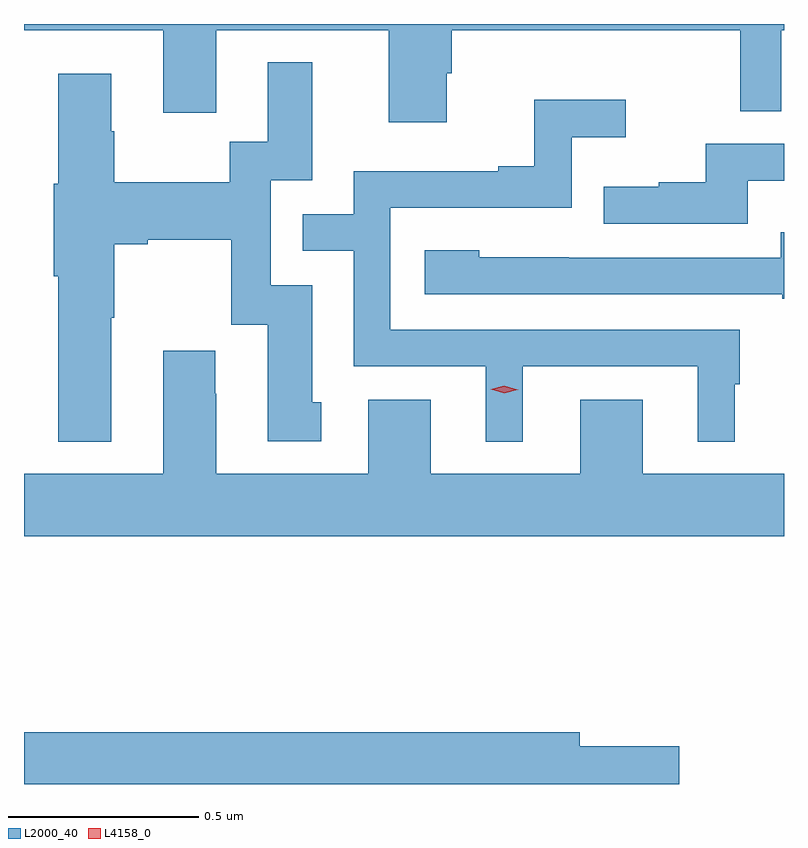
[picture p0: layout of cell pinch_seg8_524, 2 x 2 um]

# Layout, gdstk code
import gdstk
lib = gdstk.Library(unit=1e-6, precision=1e-09)
def P(c, l, *ps):  # polygons
    for p in ps: c.add(gdstk.Polygon(p, *l))
L2000_40 = (2000, 40)
L4158_0 = (4158, 0)

pinch_seg8_524 = lib.new_cell('pinch_seg8_524')
P(pinch_seg8_524, L2000_40, [(222.619,1109.727),(222.632,1109.727),(222.632,1109.84),(223.392,1109.84),(223.392,1109.626),(223.5,1109.626),(223.5,1109.84),(223.507,1109.84),(223.507,1109.856),(221.507,1109.856),(221.507,1109.84),(221.873,1109.84),(221.873,1109.622),(222.013,1109.622),(222.013,1109.84),(222.467,1109.84),(222.467,1109.598),(222.619,1109.598)],
  [(221.737,1109.083),(221.745,1109.083),(221.745,1109.276),(221.833,1109.276),(221.833,1109.288),(222.053,1109.288),(222.053,1109.064),(222.149,1109.064),(222.149,1108.758),(222.289,1108.758),(222.289,1108.86),(222.265,1108.86),(222.265,1109.169),(222.156,1109.169),(222.156,1109.445),(222.265,1109.445),(222.265,1109.755),(222.149,1109.755),(222.149,1109.546),(222.048,1109.546),(222.048,1109.44),(221.745,1109.44),(221.745,1109.574),(221.737,1109.574),(221.737,1109.725),(221.597,1109.725),(221.597,1109.436),(221.585,1109.436),(221.585,1109.192),(221.597,1109.192),(221.597,1108.757),(221.737,1108.757)],
  [(222.82,1108.956),(223.28,1108.956),(223.28,1108.757),(223.378,1108.757),(223.378,1108.908),(223.39,1108.908),(223.39,1109.052),(222.471,1109.052),(222.471,1109.373),(222.948,1109.373),(222.948,1109.558),(223.09,1109.558),(223.09,1109.657),(222.85,1109.657),(222.85,1109.482),(222.755,1109.482),(222.755,1109.469),(222.375,1109.469),(222.375,1109.355),(222.241,1109.355),(222.241,1109.259),(222.375,1109.259),(222.375,1108.956),(222.722,1108.956),(222.722,1108.757),(222.82,1108.757)],
  [(223.411,1109.444),(223.507,1109.444),(223.507,1109.541),(223.301,1109.541),(223.301,1109.44),(223.177,1109.44),(223.177,1109.428),(223.033,1109.428),(223.033,1109.331),(223.411,1109.331)],
  [(223.507,1109.308),(223.499,1109.308),(223.499,1109.241),(222.941,1109.241),(222.941,1109.242),(222.705,1109.242),(222.705,1109.26),(222.561,1109.26),(222.561,1109.145),(223.503,1109.145),(223.503,1109.133),(223.507,1109.133)],
  [(223.507,1108.672),(223.135,1108.672),(223.135,1108.867),(222.971,1108.867),(222.971,1108.672),(222.577,1108.672),(222.577,1108.867),(222.413,1108.867),(222.413,1108.672),(222.013,1108.672),(222.013,1108.883),(222.01,1108.883),(222.01,1108.996),(221.873,1108.996),(221.873,1108.672),(221.507,1108.672),(221.507,1108.508),(223.507,1108.508)],
  [(223.231,1107.956),(222.97,1107.956),(222.97,1107.992),(221.507,1107.992),(221.507,1107.856),(223.231,1107.856)])
P(pinch_seg8_524, L4158_0, [(222.771,1108.884),(222.735,1108.895),(222.735,1108.895),(222.735,1108.895),(222.771,1108.904),(222.806,1108.894),(222.807,1108.893),(222.806,1108.893)])

lib.write_gds('pinch_seg8_524.gds')
